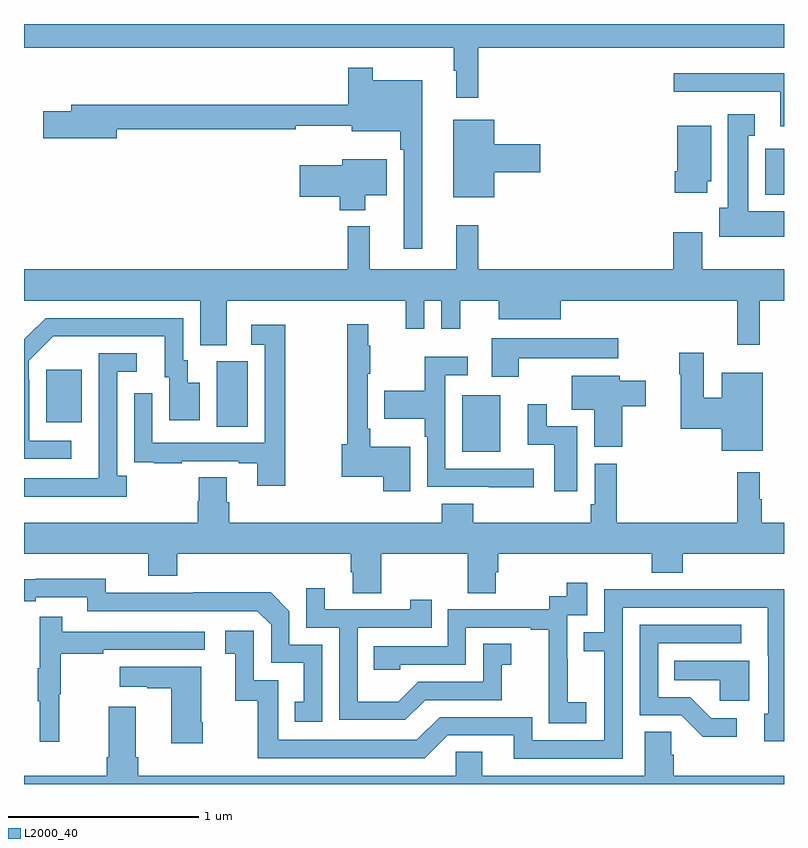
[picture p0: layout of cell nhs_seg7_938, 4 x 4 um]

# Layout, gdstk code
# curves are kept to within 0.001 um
import gdstk
lib = gdstk.Library(unit=1e-6, precision=1e-09)
def R(c, l, rs):  # rectangles x0, y0, x1, y1
    for r in rs: c.add(gdstk.rectangle(r[:2], r[2:], *l))
def P(c, l, *ps):  # polygons
    for p in ps: c.add(gdstk.Polygon(p, *l))
L2000_40 = (2000, 40)

nhs_seg7_938 = lib.new_cell('nhs_seg7_938')
R(nhs_seg7_938, L2000_40, [(181.307,1071.749,181.507,1072.045), (180.014,1071.88,180.178,1072.224), (179.117,1071.905,179.305,1072.18), (182.9,1073.102,183,1073.344)])
P(nhs_seg7_938, L2000_40, [(183,1074),(179,1074),(179,1073.876),(181.263,1073.876),(181.263,1073.753),(181.274,1073.753),(181.274,1073.613),(181.391,1073.613),(181.391,1073.876),(183,1073.876)],
  [(181.096,1073.704),(180.835,1073.704),(180.835,1073.77),(180.706,1073.77),(180.706,1073.575),(179.249,1073.575),(179.249,1073.541),(179.1,1073.541),(179.1,1073.399),(179.488,1073.399),(179.488,1073.446),(180.429,1073.446),(180.429,1073.465),(180.725,1073.465),(180.725,1073.435),(180.979,1073.435),(180.979,1073.339),(180.999,1073.339),(180.999,1072.818),(181.096,1072.818)],
  [(183,1073.74),(182.421,1073.74),(182.421,1073.643),(182.981,1073.643),(182.981,1073.462),(183,1073.462)],
  [(183,1073.014),(182.812,1073.014),(182.812,1073.411),(182.845,1073.411),(182.845,1073.524),(182.705,1073.524),(182.705,1073.034),(182.66,1073.034),(182.66,1072.88),(183,1072.88)],
  [(181.474,1073.219),(181.717,1073.219),(181.717,1073.366),(181.474,1073.366),(181.474,1073.497),(181.259,1073.497),(181.259,1073.087),(181.474,1073.087)],
  [(182.596,1073.172),(182.617,1073.172),(182.617,1073.464),(182.438,1073.464),(182.438,1073.224),(182.426,1073.224),(182.426,1073.112),(182.596,1073.112)],
  [(180.796,1073.099),(180.91,1073.099),(180.91,1073.287),(180.674,1073.287),(180.674,1073.257),(180.45,1073.257),(180.45,1073.092),(180.662,1073.092),(180.662,1073.021),(180.796,1073.021)],
  [(180.067,1072.544),(181.01,1072.544),(181.01,1072.395),(181.107,1072.395),(181.107,1072.544),(181.197,1072.544),(181.197,1072.395),(181.295,1072.395),(181.295,1072.544),(181.499,1072.544),(181.499,1072.445),(181.825,1072.445),(181.825,1072.544),(182.755,1072.544),(182.755,1072.311),(182.873,1072.311),(182.873,1072.544),(183,1072.544),(183,1072.708),(182.569,1072.708),(182.569,1072.903),(182.417,1072.903),(182.417,1072.708),(181.391,1072.708),(181.391,1072.942),(181.274,1072.942),(181.274,1072.708),(180.821,1072.708),(180.821,1072.936),(180.703,1072.936),(180.703,1072.708),(179,1072.708),(179,1072.544),(179.927,1072.544),(179.927,1072.309),(180.067,1072.309)],
  [(179.248,1071.807),(179.028,1071.807),(179.028,1072.127),(179.025,1072.127),(179.025,1072.227),(179.154,1072.356),(179.741,1072.356),(179.741,1072.14),(179.765,1072.14),(179.765,1071.915),(179.926,1071.915),(179.926,1072.111),(179.863,1072.111),(179.863,1072.23),(179.838,1072.23),(179.838,1072.452),(179.114,1072.452),(179.023,1072.361),(179.022,1072.362),(179,1072.34),(179,1071.711),(179.248,1071.711)],
  [(181.033,1071.775),(180.823,1071.775),(180.823,1071.871),(180.81,1071.871),(180.81,1072.159),(180.823,1072.159),(180.823,1072.307),(180.812,1072.307),(180.812,1072.42),(180.702,1072.42),(180.702,1071.788),(180.673,1071.788),(180.673,1071.617),(180.89,1071.617),(180.89,1071.54),(181.033,1071.54)],
  [(180.376,1072.417),(180.195,1072.417),(180.195,1072.311),(180.267,1072.311),(180.267,1071.795),(179.676,1071.795),(179.676,1072.057),(179.58,1072.057),(179.58,1071.802),(179.581,1071.802),(179.581,1071.693),(179.683,1071.693),(179.683,1071.687),(179.831,1071.687),(179.831,1071.699),(180.131,1071.699),(180.131,1071.687),(180.227,1071.687),(180.227,1071.57),(180.376,1071.57)],
  [(181.603,1072.241),(182.128,1072.241),(182.128,1072.345),(181.463,1072.345),(181.463,1072.143),(181.603,1072.143)],
  [(182.887,1072.165),(182.672,1072.165),(182.672,1072.034),(182.578,1072.034),(182.578,1072.27),(182.449,1072.27),(182.449,1072.157),(182.456,1072.157),(182.456,1071.869),(182.672,1071.869),(182.672,1071.755),(182.887,1071.755)],
  [(179.542,1071.622),(179.49,1071.622),(179.49,1072.17),(179.593,1072.17),(179.593,1072.266),(179.394,1072.266),(179.394,1071.809),(179.393,1071.809),(179.393,1071.609),(179,1071.609),(179,1071.512),(179.542,1071.512)],
  [(181.684,1071.66),(181.218,1071.66),(181.218,1072.152),(181.336,1072.152),(181.336,1072.249),(181.11,1072.249),(181.11,1072.071),(180.895,1072.071),(180.895,1071.923),(181.11,1071.923),(181.11,1071.827),(181.122,1071.827),(181.122,1071.564),(181.447,1071.564),(181.447,1071.563),(181.684,1071.563)],
  [(182.148,1071.989),(182.272,1071.989),(182.272,1072.123),(182.136,1072.123),(182.136,1072.15),(181.883,1072.15),(181.883,1071.971),(182,1071.971),(182,1071.774),(182.148,1071.774)],
  [(181.912,1071.882),(181.75,1071.882),(181.75,1072),(181.652,1072),(181.652,1071.786),(181.79,1071.786),(181.79,1071.54),(181.912,1071.54)],
  [(180.879,1071.212),(181.336,1071.212),(181.336,1071.004),(181.483,1071.004),(181.483,1071.114),(181.496,1071.114),(181.496,1071.212),(182.303,1071.212),(182.303,1071.113),(182.468,1071.113),(182.468,1071.212),(183,1071.212),(183,1071.376),(182.884,1071.376),(182.884,1071.5),(182.872,1071.5),(182.872,1071.64),(182.755,1071.64),(182.755,1071.376),(182.12,1071.376),(182.12,1071.685),(182.004,1071.685),(182.004,1071.472),(181.984,1071.472),(181.984,1071.376),(181.364,1071.376),(181.364,1071.475),(181.199,1071.475),(181.199,1071.376),(180.08,1071.376),(180.08,1071.482),(180.067,1071.482),(180.067,1071.614),(179.92,1071.614),(179.92,1071.489),(179.915,1071.489),(179.915,1071.376),(179,1071.376),(179,1071.212),(179.654,1071.212),(179.654,1071.095),(179.807,1071.095),(179.807,1071.212),(180.719,1071.212),(180.719,1071.114),(180.731,1071.114),(180.731,1071.004),(180.879,1071.004)],
  [(180.57,1070.733),(180.396,1070.733),(180.396,1070.91),(180.298,1071.008),(179.89,1071.008),(179.89,1071.006),(179.43,1071.006),(179.43,1071.079),(179,1071.078),(179,1070.962),(179.062,1070.962),(179.062,1070.982),(179.334,1070.982),(179.334,1070.91),(180.228,1070.91),(180.3,1070.838),(180.3,1070.637),(180.473,1070.637),(180.473,1070.433),(180.424,1070.433),(180.424,1070.328),(180.57,1070.328)],
  [(181.96,1070.431),(181.862,1070.431),(181.862,1070.66),(181.86,1070.66),(181.86,1070.889),(181.965,1070.889),(181.965,1071.058),(181.857,1071.058),(181.857,1070.988),(181.764,1070.988),(181.764,1070.919),(181.23,1070.919),(181.23,1070.724),(180.841,1070.724),(180.841,1070.601),(180.981,1070.601),(180.981,1070.628),(181.326,1070.628),(181.326,1070.823),(181.667,1070.823),(181.667,1070.811),(181.763,1070.811),(181.763,1070.527),(181.762,1070.527),(181.762,1070.321),(181.96,1070.321)],
  [(181.111,1070.442),(181.515,1070.442),(181.515,1070.627),(181.564,1070.627),(181.564,1070.737),(181.416,1070.737),(181.416,1070.538),(181.074,1070.538),(180.97,1070.434),(180.756,1070.434),(180.756,1070.823),(181.145,1070.823),(181.145,1070.971),(181.034,1070.971),(181.034,1070.919),(180.583,1070.919),(180.583,1071.031),(180.486,1071.031),(180.486,1070.823),(180.66,1070.823),(180.66,1070.337),(181.006,1070.337)],
  [(182.151,1070.928),(182.915,1070.928),(182.916,1070.37),(182.897,1070.37),(182.897,1070.226),(183,1070.226),(183,1071.026),(182.551,1071.026),(182.551,1071.024),(182.055,1071.024),(182.055,1070.799),(181.945,1070.799),(181.945,1070.698),(182.055,1070.698),(182.055,1070.229),(181.674,1070.229),(181.674,1070.352),(181.188,1070.352),(181.068,1070.232),(180.339,1070.232),(180.339,1070.547),(180.21,1070.547),(180.21,1070.806),(180.06,1070.806),(180.06,1070.685),(180.113,1070.685),(180.113,1070.439),(180.231,1070.439),(180.231,1070.136),(181.11,1070.136),(181.23,1070.256),(181.577,1070.256),(181.577,1070.133),(182.151,1070.133)],
  [(179.186,1070.472),(179.194,1070.472),(179.194,1070.686),(179.417,1070.686),(179.417,1070.706),(179.95,1070.706),(179.95,1070.802),(179.201,1070.802),(179.201,1070.881),(179.084,1070.881),(179.084,1070.609),(179.073,1070.609),(179.073,1070.435),(179.084,1070.435),(179.084,1070.223),(179.186,1070.223)],
  [(182.752,1070.346),(182.617,1070.346),(182.506,1070.457),(182.337,1070.457),(182.337,1070.742),(182.776,1070.742),(182.776,1070.838),(182.241,1070.838),(182.241,1070.361),(182.46,1070.361),(182.573,1070.249),(182.752,1070.249)],
  [(182.818,1070.65),(182.422,1070.65),(182.422,1070.546),(182.661,1070.546),(182.661,1070.438),(182.818,1070.438)],
  [(179.94,1070.326),(179.932,1070.326),(179.932,1070.617),(179.505,1070.617),(179.505,1070.513),(179.648,1070.513),(179.648,1070.503),(179.774,1070.503),(179.774,1070.214),(179.94,1070.214)],
  [(183,1070.044),(182.42,1070.044),(182.42,1070.153),(182.406,1070.153),(182.406,1070.276),(182.267,1070.276),(182.267,1070.044),(181.411,1070.044),(181.411,1070.171),(181.272,1070.171),(181.272,1070.044),(179.6,1070.044),(179.6,1070.14),(179.587,1070.14),(179.587,1070.407),(179.447,1070.407),(179.447,1070.14),(179.435,1070.14),(179.435,1070.044),(179,1070.044),(179,1070),(183,1070)])

lib.write_gds('nhs_seg7_938.gds')
